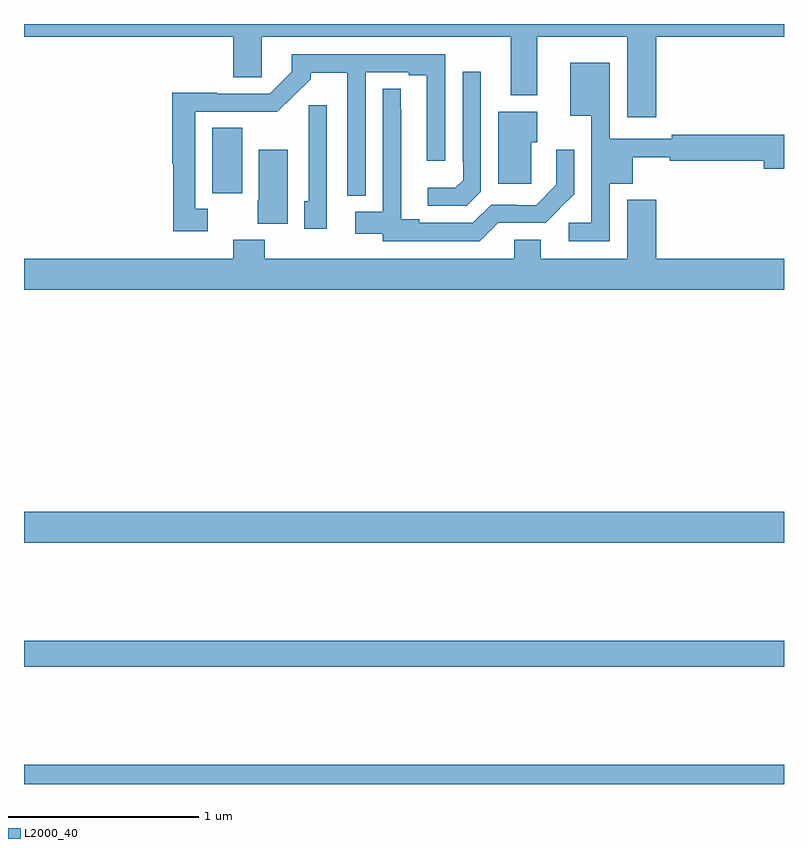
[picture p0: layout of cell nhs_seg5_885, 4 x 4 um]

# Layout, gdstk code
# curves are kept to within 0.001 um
import gdstk
lib = gdstk.Library(unit=1e-6, precision=1e-09)
def R(c, l, rs):  # rectangles x0, y0, x1, y1
    for r in rs: c.add(gdstk.rectangle(r[:2], r[2:], *l))
def P(c, l, *ps):  # polygons
    for p in ps: c.add(gdstk.Polygon(p, *l))
L2000_40 = (2000, 40)

nhs_seg5_885 = lib.new_cell('nhs_seg5_885')
R(nhs_seg5_885, L2000_40, [(167,880.799,171,880.9), (167,881.416,171,881.552), (167,882.068,171,882.232), (167.99,883.908,168.148,884.252)])
P(nhs_seg5_885, L2000_40, [(170.327,884.732),(171,884.732),(171,884.799),(167,884.799),(167,884.732),(168.101,884.732),(168.101,884.518),(168.252,884.518),(168.252,884.732),(169.562,884.732),(169.562,884.423),(169.702,884.423),(169.702,884.732),(170.174,884.732),(170.174,884.307),(170.327,884.307)],
  [(167.968,883.827),(167.901,883.827),(167.901,884.337),(168.334,884.336),(168.508,884.509),(168.508,884.543),(168.702,884.543),(168.702,883.895),(168.798,883.895),(168.798,884.544),(169.025,884.544),(169.025,884.529),(169.121,884.529),(169.121,884.079),(169.218,884.079),(169.218,884.64),(168.408,884.64),(168.408,884.547),(168.294,884.433),(168.017,884.433),(168.017,884.438),(167.781,884.438),(167.781,884.064),(167.785,884.064),(167.785,883.707),(167.968,883.707)],
  [(170.082,883.958),(170.203,883.958),(170.203,884.098),(170.399,884.098),(170.399,884.08),(170.894,884.08),(170.894,884.038),(171,884.038),(171,884.216),(170.41,884.216),(170.41,884.196),(170.082,884.196),(170.082,884.596),(169.874,884.596),(169.874,884.315),(169.986,884.315),(169.986,883.752),(169.866,883.752),(169.866,883.656),(170.082,883.656)],
  [(169.404,883.917),(169.404,884.548),(169.308,884.548),(169.308,884.077),(169.311,884.077),(169.311,883.977),(169.271,883.937),(169.125,883.937),(169.125,883.842),(169.329,883.842)],
  [(169.495,883.752),(169.746,883.752),(169.896,883.904),(169.896,884.137),(169.802,884.137),(169.802,883.952),(169.696,883.846),(169.594,883.846),(169.594,883.848),(169.458,883.848),(169.362,883.752),(169.081,883.752),(169.081,883.772),(168.985,883.772),(168.984,884.459),(168.888,884.459),(168.888,883.81),(168.744,883.81),(168.744,883.694),(168.888,883.694),(168.888,883.656),(169.399,883.656)],
  [(168.594,884.371),(168.498,884.371),(168.498,883.866),(168.476,883.866),(168.476,883.722),(168.594,883.722)],
  [(169.669,884.177),(169.702,884.177),(169.702,884.338),(169.496,884.338),(169.496,883.959),(169.669,883.959)],
  [(168.388,884.137),(168.236,884.137),(168.236,883.872),(168.23,883.872),(168.23,883.748),(168.388,883.748)],
  [(171,883.564),(170.327,883.564),(170.327,883.873),(170.174,883.873),(170.174,883.564),(169.72,883.564),(169.72,883.663),(169.58,883.663),(169.58,883.564),(168.266,883.564),(168.266,883.663),(168.101,883.663),(168.101,883.564),(167,883.564),(167,883.4),(171,883.4)])

lib.write_gds('nhs_seg5_885.gds')
